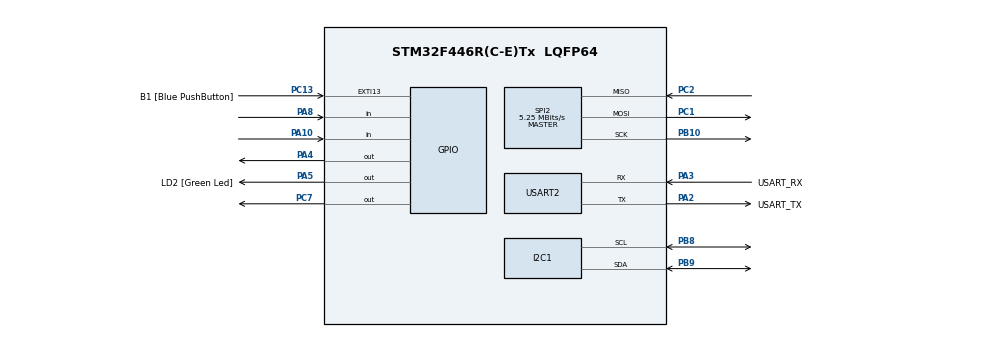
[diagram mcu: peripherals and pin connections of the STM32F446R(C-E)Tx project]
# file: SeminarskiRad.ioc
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Mcu.Family=STM32F4
Mcu.Name=STM32F446R(C-E)Tx
Mcu.Package=LQFP64
NVIC.EXTI15_10_IRQn=true\:0\:0\:false\:false\:true\:true\:true\:true
NVIC.PriorityGroup=NVIC_PRIORITYGROUP_0
NVIC.TIM6_DAC_IRQn=true\:0\:0\:false\:false\:true\:true\:true\:true
PA10.Signal=GPIO_Input
PA13.GPIO_Label=TMS
PA13.Mode=Serial_Wire
PA13.Signal=SYS_JTMS-SWDIO
PA14.GPIO_Label=TCK
PA14.Mode=Serial_Wire
PA14.Signal=SYS_JTCK-SWCLK
PA2.GPIO_Label=USART_TX
PA2.Mode=Asynchronous
PA2.Signal=USART2_TX
PA3.GPIO_Label=USART_RX
PA3.Mode=Asynchronous
PA3.Signal=USART2_RX
PA4.Signal=GPIO_Output
PA5.GPIO_Label=LD2 [Green Led]
PA5.Signal=GPIO_Output
PA8.Signal=GPIO_Input
PB10.Mode=Full_Duplex_Master
PB10.Signal=SPI2_SCK
PB3.GPIO_Label=SWO
PB3.Signal=SYS_JTDO-SWO
PB8.Mode=I2C
PB8.Signal=I2C1_SCL
PB9.Mode=I2C
PB9.Signal=I2C1_SDA
PC1.Mode=Full_Duplex_Master
PC1.Signal=SPI2_MOSI
PC13.GPIO_Label=B1 [Blue PushButton]
PC13.GPIO_ModeDefaultEXTI=GPIO_MODE_IT_FALLING
PC13.GPIO_PuPd=GPIO_PULLUP
PC13.Signal=GPXTI13
PC14-OSC32_IN.Mode=LSE-External-Oscillator
PC14-OSC32_IN.Signal=RCC_OSC32_IN
PC15-OSC32_OUT.Mode=LSE-External-Oscillator
PC15-OSC32_OUT.Signal=RCC_OSC32_OUT
PC2.Mode=Full_Duplex_Master
PC2.Signal=SPI2_MISO
PC7.Signal=GPIO_Output
PH0-OSC_IN.Mode=HSE-External-Oscillator
PH0-OSC_IN.Signal=RCC_OSC_IN
PH1-OSC_OUT.Mode=HSE-External-Oscillator
PH1-OSC_OUT.Signal=RCC_OSC_OUT
ProjectManager.HeapSize=0x200
ProjectManager.StackSize=0x400
ProjectManager.TargetToolchain=STM32CubeIDE
RCC.48MHZClocksFreq_Value=84000000
RCC.AHBFreq_Value=84000000
RCC.APB1CLKDivider=RCC_HCLK_DIV2
RCC.APB1Freq_Value=42000000
RCC.APB1TimFreq_Value=84000000
RCC.APB2Freq_Value=84000000
RCC.APB2TimFreq_Value=84000000
RCC.CortexFreq_Value=84000000
RCC.FLatency-AdvancedSettings=FLASH_LATENCY_2
RCC.HCLKFreq_Value=84000000
RCC.HSE_VALUE=8000000
RCC.HSI_VALUE=16000000
RCC.PLLN=336
RCC.PLLP=RCC_PLLP_DIV4
RCC.SYSCLKFreq_VALUE=84000000
RCC.SYSCLKSource=RCC_SYSCLKSOURCE_PLLCLK
RCC.USBFreq_Value=168000000
RCC.VCOOutputFreq_Value=336000000
SPI2.BaudRatePrescaler=SPI_BAUDRATEPRESCALER_8
SPI2.CalculateBaudRate=5.25 MBits/s
SPI2.Direction=SPI_DIRECTION_2LINES
SPI2.Mode=SPI_MODE_MASTER
SPI2.VirtualType=VM_MASTER
TIM6.AutoReloadPreload=TIM_AUTORELOAD_PRELOAD_ENABLE
TIM6.Period=29999
TIM6.Prescaler=8399
USART2.VirtualMode=VM_ASYNC
VP_TIM6_VS_ClockSourceINT.Mode=Enable_Timer
board=NUCLEO-F446RE

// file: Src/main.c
/* USER CODE BEGIN Header */
/**
  ******************************************************************************
  * @file           : main.c
  * @brief          : Main program body
  ******************************************************************************
  * @attention
  *
  * Copyright (c) 2025 STMicroelectronics.
  * All rights reserved.
  *
  * This software is licensed under terms that can be found in the LICENSE file
  * in the root directory of this software component.
  * If no LICENSE file comes with this software, it is provided AS-IS.
  *
  ******************************************************************************
  */
/* USER CODE END Header */
#include "main.h"
#include "i2c.h"
#include "spi.h"
#include "tim.h"
#include "usart.h"
#include "gpio.h"
#include <string.h>

/* USER CODE BEGIN PD */
// I2C adresa PCF8574T shiftana u lijevo za 1 jer I2C treba 7-bit adresiranje + 1 bit za R/W
#define PCF8574T_ADDRESS  0x27 << 1 // 0x4E

// LCD
#define LCD_BACKLIGHT 0x08      // Upravlja LCD pozadinskim svjetlom (0x08 = ON)
#define LCD_ENABLE    0x04      // Omogućuje pin za LCD operacije (slanje podatka ili komandi)
#define LCD_RS        0x01      // Odabir registara, 0 = LCD ceka naredbu, 1 = ceka podatke za prikaz

// RFID Komande
#define PCD_IDLE        0x00
#define PCD_AUTHENT     0x0E
#define PCD_RECEIVE     0x08
#define PCD_TRANSMIT    0x04
#define PCD_TRANSCEIVE  0x0C    // Prenosi i prima podatke, komunikacija sa karticom
#define PCD_RESETPHASE  0x0F    // soft reset MFRC522

// RFID Registri
#define CommandReg        0x01  // Zadaje RFID-u koju komandu da izvrši
#define CommIEnReg        0x02  // Omogućuje prekid kada se nešto dogodi
#define CommIrqReg        0x04  // Pokazuje je li neka operacija završena
#define DivIrqReg        0x05   // nadzire ostale uvjete prekida
#define ErrorReg         0x06   // detektira greške u komunikaciji
#define FIFODataReg      0x09   // FIFODataReg je registar kroz koji se šalju i primaju podaci
#define FIFOLevelReg     0x0A   // Koliko podataka je trenutno u FIFO memoriji.
#define WaterLevelReg    0x0B   // Postavlja granicu koliko podataka smije biti u FIFO bufferu
#define ControlReg       0x0C   // Sadrži kontrolne bitove
#define BitFramingReg    0x0D   // Koliko bita treba poslati
#define CollReg          0x0E   // Provjerava je li bilo sudara podataka prilikom komunikacije sa više kartica
#define ModeReg          0x11   // Postavlja osnovni radni način RFID čitača.
#define TxControlReg     0x14   // Pali antenu, bez ovog RFID ne šalje ništa
#define TxASKReg         0x15   // Amplitude Shift Keying je metoda koju čitač koristi za slanje podataka kartici. Ovaj registar određuje kako se točno oblikuje izlazni signal.
// Podešavaju tajmer u RFID čipu.
#define TModeReg         0x2A
#define TPrescalerReg    0x2B   // Timer prescaler settings, određuje brzinu brojanja
#define TReloadRegH      0x2C   // gornji bajt tajmera
#define TReloadRegL      0x2D   // donji bajt tajmera

// RFID PICC Komande
#define PICC_ANTICOLL    0x93   // Čita UID i sprječava da više kartica zbune čitač
// Prva komanda koju RFID čitač šalje nakon što upali antenu
#define PICC_REQIDL      0x26   // Detekcija RFID kartice u mirovanju

#define MFRC522_SPI      &hspi2
#define RFID_RST_PIN     GPIO_PIN_8 // reset
#define RFID_RST_PORT    GPIOA
// NSS je signalna linija koja se koristi za omogućavanje ili onemogućavanje komunikacije s određenim SLAVE uređajem
#define RFID_NSS_PIN     GPIO_PIN_4 // čip selecet, aktivno kad je low
#define RFID_NSS_PORT    GPIOA
/* USER CODE END PD */

/* USER CODE BEGIN PV */

//=======================//
//   KARTICE STUDENATA   //
//=======================//
const uint8_t Student1[4] = {0x16, 0xFC, 0xDE, 0x12};
const uint8_t Student2[4] = {0x94, 0x24, 0x09, 0x1E};
const uint8_t Student3[4] = {0x67, 0x64, 0xE8, 0x2B};
const uint8_t Student4[4] = {0xEA, 0x4C, 0xC0, 0x2E};
/* USER CODE END PV */

void SystemClock_Config(void);
/* USER CODE BEGIN PFP */

//=============================//
//   LCD FUNCTION PROTOTYPES   //
//=============================//
void I2C_LCD_Init(void);
void I2C_LCD_Send_Cmd(uint8_t cmd) ;               // Šalje naredbu LCD-u (npr. očisti ekran)
void I2C_LCD_Send_Data(uint8_t data);              // Šalje podatak (znak) na LCD za prikaz (npr. pokaži znak, broj...)
void I2C_LCD_Send_String(char *str);               // Šalje tekst (string) na LCD za prikaz
void I2C_LCD_Send_Byte(uint8_t val, uint8_t mode); // I2C_LCD_Send_Cmd i Data zovu ovu funkciju koja određuje oće li se tretirati kao naredba 0 ili podatak 1
void I2C_LCD_Pulse_En(uint8_t data);               // Šalje kratki signal bez kojeg LCD ništa ne šalje

//==============================//
//   RFID FUNCTION PROTOTYPES   //
//==============================//
void RC522_Init(void);
void RC522_WriteRegister(uint8_t reg, uint8_t value); // 1.šalje adresu "reg" u koju se piše / 2.šalje "value" vrijednost koja se piše (tako se RFIDu govori da npr. upali antenu)
uint8_t RC522_ReadRegister(uint8_t reg);              // Pročita što piše u određenom registru "reg"
uint8_t RC522_Request(uint8_t *cardType);             // Provjerava je li kartica prisutna u polju čitača i identificira njezin tip - Ako je - vraća 0 / Nije - 1
uint8_t RC522_Anticoll(uint8_t *serNum);              // Sprječavanja sudare (ako ima više kartica) kako bi odabrao jednu karticu i pročitao njezin UID
void RC522_Reset(void);
void RC522_AntennaOn(void);                           // Uključi antenu RFID čitača i tako omogućuje komunikaciju sa karticama

/* USER CODE END PFP */

/* USER CODE BEGIN 0 */

// Varijable su deklarirane negdje drugdje
// "extern" korsitim zato što omogućuje da ih koristim u bilo kojem dijelu programa bez potrebe za ponovnim definiranjem
extern I2C_HandleTypeDef hi2c1;
extern SPI_HandleTypeDef hspi2;
extern TIM_HandleTypeDef htim6;

//===========================//
//   LCD CONTROL FUNCTIONS   //
//===========================//
// Funkcija za slanje bajta preko I2C
// Šalje bajt (val) u dvije polovice jer je u 4-bitnom modu (4 gornja i 4 donja)
void I2C_LCD_Send_Byte(uint8_t val, uint8_t mode) {
    uint8_t high_nibble = (val & 0xF0) | LCD_BACKLIGHT | mode;        // uzima gornjih 4 bita(7-4) od bajta "val" i kombinira ih sa LCD_BACKLIGHT i mode, donje bitove (3-0) postavlja na 0
    uint8_t low_nibble = ((val << 4) & 0xF0) | LCD_BACKLIGHT | mode;  // uzima donja 4 bita(3-0) od bajta "val" i shifta u lijevo za 4 u poziciju high nibblea, donje bitove postavlja na 0
    I2C_LCD_Pulse_En(high_nibble); // Prvo šalje gornja 4 bita
    I2C_LCD_Pulse_En(low_nibble);  // Zatim šalje donja 4 bita
}

// Generira enable puls
void I2C_LCD_Pulse_En(uint8_t data) { // uzima podatke koje već imamo, dodaje EN bit i privremeno sprema u "temp", pa kad ga pošaljemo LCD-u, linija EN ide u 1 i omogućava da LCD pročita podatke
    uint8_t temp = data | LCD_ENABLE; // EN = 1, svi ostali bitovi ostaju isti zbog |
    HAL_I2C_Master_Transmit(&hi2c1, PCF8574T_ADDRESS, &temp, 1, HAL_MAX_DELAY); // šalje pripremljeni bajt "temp" preko I2C sabirnice na PCF8574T
    HAL_Delay(1);
    temp &= ~LCD_ENABLE; // invertira brojeve - sve je 1 osim EN bita koji je 0
    HAL_I2C_Master_Transmit(&hi2c1, PCF8574T_ADDRESS, &temp, 1, HAL_MAX_DELAY); // isto kao i ovo gore ali sada "temp" ima EN pin očišćen
    HAL_Delay(1);
}

// Funkcija za slanje komande LCD-u
// 0 indikator da se šalje naredba
void I2C_LCD_Send_Cmd(uint8_t cmd) {
    I2C_LCD_Send_Byte(cmd, 0);
}

// Funkcija za slanje podataka (data)
void I2C_LCD_Send_Data(uint8_t data) {
    I2C_LCD_Send_Byte(data, LCD_RS);  // RS = 1 - znači da se šalje podatak, LCD_RS definiran gore
}

// Funkcija za slanje stringa na LCD
void I2C_LCD_Send_String(char *str) {
    while (*str) {                    // while prolazi kroz svaki znak stringa dok zadnji znak nije \0 i šalje ga pomoću I2C_LCD_Send_Data()
        I2C_LCD_Send_Data(*str++);    // *str++ pomiče pokazivač na sljedeći znak u nizu
    }
}

// Inicijalizacija LCD-a
void I2C_LCD_Init(void) {
    HAL_Delay(50);
    I2C_LCD_Send_Cmd(0x33); // forsiranje LCD-a u 4-bitni način rada
    HAL_Delay(5);
    I2C_LCD_Send_Cmd(0x32); // potvrda da je u 4-bitnom načinu
    HAL_Delay(5);
    I2C_LCD_Send_Cmd(0x28); // 4-bit, 2 linije, 5x8 font
    I2C_LCD_Send_Cmd(0x0C); // Uključi prikaz, isključi kursor
    I2C_LCD_Send_Cmd(0x06); // Automatski pomak kursora
    I2C_LCD_Send_Cmd(0x01); // Očisti zaslon
    HAL_Delay(2);
}

//===========================//
//   RFID READER FUNCTIONS   //
//===========================//
// Prvi korak u SPI, priprema čip za primanje adrese i vrijednosti registra
void RC522_WriteRegister(uint8_t reg, uint8_t value) { // npr. odi na registar 0x01 (CommandReg) i upiši vrijednost 0x0F
	// NSS (Slave Selecet) se postavlja na LOW što znači da se RFID modul aktivira i spreman je primiti podatke putem SPI-a
    HAL_GPIO_WritePin(RFID_NSS_PORT, RFID_NSS_PIN, GPIO_PIN_RESET);
    uint8_t data[2];             // kreira polje od 2 bajta koji se šalju preko SPI
    data[0] = (reg << 1) & 0x7E; // mora shiftat ulijevo jer SPI zahtjeva da se adresa pomakne jer bit 7 mora bit R\W a bit 0 nekorišten
    data[1] = value;             // vrijednost koja se upisuje u reigstar
    // šalje 2 bajta putem SPI (prvi bajt - adresa registra, drugi bajt - vrijednost koja se upisuje u taj registar)
    HAL_SPI_Transmit(MFRC522_SPI, data, 2, HAL_MAX_DELAY); // šalje 2 bajta data od gore čipu preko SPI
    // NSS se postavalja na HIGH, završava SPI prijenos i RFID zna da je upis podataka završen
    HAL_GPIO_WritePin(RFID_NSS_PORT, RFID_NSS_PIN, GPIO_PIN_SET);
}

// Pomoću SPI-a čita vrijednosti iz registra RFID-a
uint8_t RC522_ReadRegister(uint8_t reg) {
	// NSS je LOW (omogućuje komunikaciju između mikrokontrolera i RFID-a)
    HAL_GPIO_WritePin(RFID_NSS_PORT, RFID_NSS_PIN, GPIO_PIN_RESET);
    uint8_t data[2];
    data[0] = ((reg << 1) & 0x7E) | 0x80; // komanda za čitanje (bit 7 = 1 za čitanje)
    data[1] = 0;                          // lažni bajt jer čip vraća vrijednost kao odgovor
    HAL_SPI_TransmitReceive(MFRC522_SPI, data, data, 2, HAL_MAX_DELAY); // istovremeno se pomiču 2 bajta, 1. je "smeće" 2. je zapravo vrijednost registra
    // NSS je HIGH (završava SPI komunikacija)
    HAL_GPIO_WritePin(RFID_NSS_PORT, RFID_NSS_PIN, GPIO_PIN_SET);
    return data[1];
}
// Postavlja (uključuje) određene bitove u zadanom registru RFID čitača / npr. uključivanje samo antene
void RC522_SetBitMask(uint8_t reg, uint8_t mask) { // osigura da se mijenjaju samo željeni bitovi, ključno za registre koji kontroliraju više nepovezanih značajki.
    uint8_t tmp = RC522_ReadRegister(reg); // pročita trenutnu vrijednost "reg" i spremi u privremenu varijablu tmp
    RC522_WriteRegister(reg, tmp | mask);  // koristi OR da bi postavio na 1 one bitove koji su 1 u mask
}
// Briše određene bitove u zadanom registru RFID-a, Kontrola pojedinih bitova bez da dira ostatak registra
void RC522_ClearBitMask(uint8_t reg, uint8_t mask) { // postavi na 0 bitove u registru bez da dira ostale bitove
    uint8_t tmp = RC522_ReadRegister(reg);           // pročita trenutni sadržaj "reg" i sprema se u "tmp"
    RC522_WriteRegister(reg, tmp & (~mask));         // AND s negacijom - isključi (postavi na 0) bitove definirane u mask / Zapisuje natrag izmijenjenu vrijednost u registar
}
// Provjerava jel antena OFF, ako je UPALI ju
void RC522_AntennaOn(void) {
    uint8_t temp = RC522_ReadRegister(TxControlReg); // čita sadržaj registra TxControlReg - kontrolira jesu li upravljački programi antene omogućeni ili ne
    if (!(temp & 0x03)) {                            // provjerava najniža 2 bita registra, ako su oba 0 antena je OFF
        RC522_SetBitMask(TxControlReg, 0x03);        // ovo pali antenu
    }
}

void RC522_Reset(void) {
    RC522_WriteRegister(CommandReg, PCD_RESETPHASE); // u CommandReg piše PCD_RESETPHASE time se čip resetira
}

void RC522_Init(void) {
    HAL_GPIO_WritePin(RFID_RST_PORT, RFID_RST_PIN, GPIO_PIN_SET); // reset pin mora biti u visokom stanju za normalno rad
    HAL_Delay(50);

    RC522_Reset();

    // Inicijalizacija timera RFIDa
    RC522_WriteRegister(TModeReg, 0x8D);        // omogućuje automatsko pokretanje timera, ključno za otkrivanje odgovora kartica unutar određenog vremena
    RC522_WriteRegister(TPrescalerReg, 0x3E);   // Postavlja frekvenciju timera na otp 40kHz, to određuje koliko timer brzo odbrojava operacije npr. komunikacija s karticom
    RC522_WriteRegister(TReloadRegL, 30);       // definira koliko dugo čip čeka odgovor kartice
    RC522_WriteRegister(TReloadRegH, 0);

    RC522_WriteRegister(TxASKReg, 0x40);        // 100% ASK modulation (potrebno za pouzdanu komunikaciju s karticama)
    RC522_WriteRegister(ModeReg, 0x3D);         // osigurava da čip koristi ispravne CRC postavke za kartice
    RC522_AntennaOn();                          // Uključuje antenu RFID čitača, bez toga čitač ne može vidjeti kartice.
}
// Glavna komunikacijska funkcija - obavlja komunikaciju između RC522 RFID čitača i kartice
uint8_t RC522_ToCard(uint8_t command, uint8_t *sendData, uint8_t sendLen, uint8_t *backData, uint8_t *backLen) {
    uint8_t status = 0;     // oznaka statusa komunikacije / status: 0=OK, 1=greška
    uint8_t irqEn = 0x00;   // koje prekide treba omogućiti u čipu
    uint8_t waitIRq = 0x00; // koji prekid se očekuje (npr. primljeni podaci ili stanje mirovanja)
    uint8_t lastBits;       // sprema broj valjanih bitova u zadnjem bajtu primljenih podataka
    uint8_t n;              // varijabla za spremanje privremenih vrijednosti (npr. broj bajtova iz FIFO-a)
    uint16_t i;             // brojač za petlje

    switch (command) {
        case PCD_TRANSCEIVE: // provjerava je li command PCD_TRANSCEIVE - koja šalje podatke kartici i prima odgovor
            irqEn = 0x77;    // omogućuje više prekida
            waitIRq = 0x30;  // čeka da se dogodi RxIRq (primljen podatak) ili IdleIRq (gotova operacija)
            break;           // Ne radi ništa ako command nije PCD_TRANSCEIVE
        default:
            break;
    }

    RC522_WriteRegister(CommIEnReg, irqEn | 0x80);     // omogućuje specifične prekide (npr. primljenje podatke ili dovršetak naredbe)
    RC522_ClearBitMask(CommIrqReg, 0x80);              // osigurava da zastarjele "flags" ne ometaju novu operaciju
    RC522_SetBitMask(FIFOLevelReg, 0x80);              // FIFO bafer (služi za pohranu podataka sa i na karticu) se prazni i priprema za nove podatke)
    RC522_WriteRegister(CommandReg, PCD_IDLE);         // Postavlja RC552 u PCD_IDLE (Osigurava da nije nijedna stara komanda aktivna) i tako sprjećava konflikte

    // Učitava podatke u FIFO međuspremnik MFRC522 i pokreće prijenos na karticu
    for (i = 0; i < sendLen; i++) {                    // prolazi kroz spremik sendData i zapisuje svaki bajt u FIFO registar
        RC522_WriteRegister(FIFODataReg, sendData[i]); // podaci koji će se prenijeti na karticu
    }

    // Izvršavanje naredbe
    RC522_WriteRegister(CommandReg, command);          // piše odabranu "command" u CommandReg
    if (command == PCD_TRANSCEIVE) {                   // ako je "command" PCD_TRANSCEIVE šalje FIFO podatke kartici
        RC522_SetBitMask(BitFramingReg, 0x80);
    }

    // Čekanje dovršetka naredbe(dok npr.nisu primljeni podaci ili završena operacija ili error)
    i = 2000; // stavio sam 2000 da ne bude beskonačno
    do {
        n = RC522_ReadRegister(CommIrqReg); // ispituje CommIrqReg do 2000 puta čekajući prekid koji oznaćava završetak naredbe
        i--;
    } while ((i != 0) && !(n & 0x01) && !(n & waitIRq)); // i != 0 ponovi petlju dok nije isteklo vrijeme /n & waitIRq - očekivani prekid se nije dogodio
                                                         // n & 0x01 nastavi petlju dok timer čipa nije istekao
    RC522_ClearBitMask(BitFramingReg, 0x80);             // Osigurava da čip prestane slati podatke nakon što je naredba dovršena
    if (i != 0) {                                        // provjerava je li petlja završila zbog prekida a ne zbog isteka vremena
        if (!(RC522_ReadRegister(ErrorReg) & 0x1B)) {    // ako nije bilo errora status = 0, dolje na kraju else- ako je bilo errora status = 2 pogreška
            status = 0;                                  // status = 0 uspješno
            if (n & irqEn & 0x01) {
                status = 1;                              // status = 1 isteklo vrijeme
            }

            if (command == PCD_TRANSCEIVE) {             // izvršava se samo ako se šalju podaci i očekuju odgovori, ako je nešto drugo preskače se
                n = RC522_ReadRegister(FIFOLevelReg);    // FIFOLevelReg - koliko bajtova je slobodno u FIFO
                lastBits = RC522_ReadRegister(ControlReg) & 0x07; // koliko valjanih bitova ima u posljednjem primljenom bajtu
                if (lastBits) {                          // računa backLen (duljinu odgovora u bitovima)
                    *backLen = (n - 1) * 8 + lastBits;   // ako zadnji bajt nije potpuno popunjen ukupuna duljina je puni bajt
                } else {
                    *backLen = n * 8;                    // else cijeli bajt
                }

                if (n == 0) {                            // Ako nema podataka (n == 0), postavi barem 1 bajt (jer čitanje iz FIFO uvijek treba dati nešto)
                    n = 1;
                }
                if (n > 16) {                            // Ako ima više od 16 bajtova, ograniči na 16
                    n = 16;
                }

                // Čita bajtove iz FIFO i sprema ih (pohranjuje se odgovor kartice
                for (i = 0; i < n; i++) {                // Petlja čita svaki bajt iz FIFO buffer registra FIFODataReg.
                    backData[i] = RC522_ReadRegister(FIFODataReg); // Rezultat se sprema u polje backData
                }
            }
        } else {
            status = 2;
        }
    }

    return status;
}

uint8_t RC522_Request(uint8_t *cardType) {    // deklarira funkciju koja šalje zahtjev za detekciju RFID kartice i pohranjuje njezin tip u "cardType"
    uint8_t status;                           // vraća "status" 0 za uspjeh a 1 za failure
    uint8_t backBits;                         // pohranjuje broj bitova u odgovoru kartice (koji vraća RC522_ToCard)
    RC522_WriteRegister(BitFramingReg, 0x07); // registar koji podešava način kako se šalju i primaju podaci

    cardType[0] = PICC_REQIDL;                // komanda koja detektira karticu u polju čitača, postavlja prvi bajt polja "cardType" na "PICC_REQIDL"
    status = RC522_ToCard(PCD_TRANSCEIVE, cardType, 1, cardType, &backBits); // Poziva "RC522_ToCard" za slanje naredbe "PICC_REQIDL" i primanje odgovora kartice.
 /* PCD_TRANSCEIVE - naredba čitaču da pošalje podatke i primi odgovor
    cardType - podatak koji se šalje,
    1 - broj bajotva koji se šalje,
    cardType - buffer u koji ćemo spremiti podatke koje kartica vrati
    &backBits - koliko bitova je vraćeno. */
    if ((status != 0) || (backBits != 0x10)) { // provjerava je li došlo do greške u komunikaciji
                                               // ako komunikacije nije uspjela ili ako kartica nije vratiča očekivanih 16 bitova

        status = 1;                            // "status" se postavlja na 1 = greška
    }

    return status;                             // "status" 0 = uspjeh 1 = neuspjeh
}
// funkcija koja sprkečava sudare više kartica
uint8_t RC522_Anticoll(uint8_t *serNum) {      // "serNum" je pokazivač na niz od 5 bajtova (pohranjeni su 4 bajta UID kartice i 1 bajt za kontrolu
    uint8_t status;            // sprema rezultat komunikacije 0 = ok, ako nije 0 greška
    uint8_t i;                 // brojač petlje za izračun kontrolne sume
    uint8_t serNumCheck = 0;   // koristi se za kontrolnu sumu (checksum) - XOR
    uint8_t backLen;           // pohranjuje broj bitova koji vraća "RC522_ToCard"
    RC522_WriteRegister(BitFramingReg, 0x00); // slanje i primanje punih bajtova za naredbu protiv kolizije
    // slanje komandi kartici i zahtjev za njen UID
    serNum[0] = PICC_ANTICOLL; // postavlja 1.bajt "serNum" na anti-collison command kod
    serNum[1] = 0x20;          // osigurava da kartica pošalje puni UID
    // Ovo je zapravo komunikacija s kartiocm, njezin odabir i dovinanje njezinog UIDa
    status = RC522_ToCard(PCD_TRANSCEIVE, serNum, 2, serNum, &backLen);
  /* PCD_TRANSCEIVE - Naredba čipu za slanje podataka i primanje odgovora
     serNum - šaljemo prema kartici
     2 - 2 bajta dužina podatka
     serNum - odgovor kartice UID kontrolni bajt
	 backLen - drži broj valjani broj bitova od odgovora kartice */
    if (status == 0) {                  // osigurava da se validacija izvrši samo ako je odogovor uspješno primljen
        for (i = 0; i < 4; i++) {       // prolazi kroz prva četiri bajda UIDa kartice i računa XOR kako bi se dobio kontrolni bajt (npr. 0x26)
            serNumCheck ^= serNum[i];   // BCC (0x26) se potom uspoređuje s primljenim BCCom koji je poslala kartica
        }
        if (serNumCheck != serNum[i]) { // ako se podudaraju UID je ispravan
            status = 2;                 // ako ne "status" je 2 i to je greška
        }
    }

    return status;
}

//=======================//
//   TIMER & INTERRUPT   //
//=======================//
void HAL_GPIO_EXTI_Callback(uint16_t GPIO_Pin) {
    if(GPIO_Pin == GPIO_PIN_13) {
        NVIC_SystemReset(); // Reset the system
    }
}
void HAL_TIM_PeriodElapsedCallback(TIM_HandleTypeDef *htim) {
    if (htim->Instance == TIM6) { // provjerava jel prekid izazvo TIM6
        // Isključi LED
        HAL_GPIO_WritePin(GPIOC, GPIO_PIN_7, GPIO_PIN_RESET); // LED na PC7 drži upaljenu 3 sekunde pa ju ugasi
        // Zaustavi timer
        HAL_TIM_Base_Stop_IT(&htim6);
    }
}
/* USER CODE END 0 */

int main(void)
{

  /* MCU Configuration--------------------------------------------------------*/

  /* Reset of all peripherals, Initializes the Flash interface and the Systick. */
  HAL_Init();

  /* Configure the system clock */
  SystemClock_Config();

  /* Initialize all configured peripherals */
  MX_GPIO_Init();
  MX_I2C1_Init();
  MX_SPI2_Init();
  MX_USART2_UART_Init();
  MX_TIM6_Init();

  // Inicijalizacija LCD and RFID
  I2C_LCD_Init();
  RC522_Init();

  // Početna poruka
  I2C_LCD_Send_Cmd(0x01);
  I2C_LCD_Send_String("Prisloni karticu");

  /* USER CODE BEGIN 2 */
    uint8_t cardUID[5];
    uint8_t cardType[2];
    HAL_TIM_Base_Start_IT(&htim6);

  /* USER CODE END 2 */

  /* Infinite loop */
  /* USER CODE BEGIN WHILE */

  //===================//
  //   GLAVNA PETLJA   //
  //===================//
  while (1)
  {
	  if (RC522_Request(cardType) == 0) {
	      if (RC522_Anticoll(cardUID) == 0) {
	    	  // Provjeri jel kartica autorizirana
	    	  if (memcmp(cardUID, Student1, 4) == 0) {
	    	      // Pali LED lampicu
	    	      HAL_GPIO_WritePin(GPIOC, GPIO_PIN_7, GPIO_PIN_SET);

	    	      // Startaj timer
	    	      HAL_TIM_Base_Start_IT(&htim6);

	              // Pokaži poruku dobrodošlice
	              I2C_LCD_Send_Cmd(0x01); // očisti zaslon
	              I2C_LCD_Send_String("Bok Adrian!");

	              // Čekamo 3 sekunde
	              HAL_Delay(3000);

	              // Vrati poruku dobrodošlice
	              I2C_LCD_Send_Cmd(0x01);
	              I2C_LCD_Send_String("Prisloni karticu");
	              }
	              else if (memcmp(cardUID, Student2, 4) == 0) {

	            	     HAL_GPIO_WritePin(GPIOC, GPIO_PIN_7, GPIO_PIN_SET);
	            	     HAL_TIM_Base_Start_IT(&htim6);

	                     I2C_LCD_Send_Cmd(0x01);
	                     I2C_LCD_Send_String("Bok Sara!");

	                     HAL_Delay(3000);

	                     I2C_LCD_Send_Cmd(0x01);
	                     I2C_LCD_Send_String("Prisloni karticu");
	              }
	              else if (memcmp(cardUID, Student3, 4) == 0) {

	            	     HAL_GPIO_WritePin(GPIOC, GPIO_PIN_7, GPIO_PIN_SET);
	            	  	 HAL_TIM_Base_Start_IT(&htim6);

	                 	 I2C_LCD_Send_Cmd(0x01);
	                 	 I2C_LCD_Send_String("Bok Iva!");

	                 	 HAL_Delay(3000);

	                 	 I2C_LCD_Send_Cmd(0x01);
	                 	 I2C_LCD_Send_String("Prisloni karticu");
	              }
	              else if (memcmp(cardUID, Student4, 4) == 0) {

	            	     HAL_GPIO_WritePin(GPIOC, GPIO_PIN_7, GPIO_PIN_SET);
	            	  	 HAL_TIM_Base_Start_IT(&htim6);

	                 	 I2C_LCD_Send_Cmd(0x01);
	                 	 I2C_LCD_Send_String("Bok Dorian!");

	                 	 HAL_Delay(3000);

	                 	 I2C_LCD_Send_Cmd(0x01);
	                 	 I2C_LCD_Send_String("Prisloni karticu");
	                 }
	             }
	         }
	         HAL_Delay(100);
	         /* USER CODE END WHILE */

	           }
	         }

	         /**
	           * @brief System Clock Configuration
	           * @retval None
	           */
	         void SystemClock_Config(void)
	         {
	           RCC_OscInitTypeDef RCC_OscInitStruct = {0};
	           RCC_ClkInitTypeDef RCC_ClkInitStruct = {0};

	           /** Configure the main internal regulator output voltage
	           */
	           __HAL_RCC_PWR_CLK_ENABLE();
	           __HAL_PWR_VOLTAGESCALING_CONFIG(PWR_REGULATOR_VOLTAGE_SCALE3);

	           /** Initializes the RCC Oscillators according to the specified parameters
	           * in the RCC_OscInitTypeDef structure.
	           */
	           RCC_OscInitStruct.OscillatorType = RCC_OSCILLATORTYPE_HSI;
	           RCC_OscInitStruct.HSIState = RCC_HSI_ON;
	           RCC_OscInitStruct.HSICalibrationValue = RCC_HSICALIBRATION_DEFAULT;
	           RCC_OscInitStruct.PLL.PLLState = RCC_PLL_ON;
	           RCC_OscInitStruct.PLL.PLLSource = RCC_PLLSOURCE_HSI;
	           RCC_OscInitStruct.PLL.PLLM = 16;
	           RCC_OscInitStruct.PLL.PLLN = 336;
	           RCC_OscInitStruct.PLL.PLLP = RCC_PLLP_DIV4;
	           RCC_OscInitStruct.PLL.PLLQ = 2;
	           RCC_OscInitStruct.PLL.PLLR = 2;
	           if (HAL_RCC_OscConfig(&RCC_OscInitStruct) != HAL_OK)
	           {
	             Error_Handler();
	           }

	           /** Initializes the CPU, AHB and APB buses clocks
	           */
	           RCC_ClkInitStruct.ClockType = RCC_CLOCKTYPE_HCLK|RCC_CLOCKTYPE_SYSCLK
	                                       |RCC_CLOCKTYPE_PCLK1|RCC_CLOCKTYPE_PCLK2;
	           RCC_ClkInitStruct.SYSCLKSource = RCC_SYSCLKSOURCE_PLLCLK;
	           RCC_ClkInitStruct.AHBCLKDivider = RCC_SYSCLK_DIV1;
	           RCC_ClkInitStruct.APB1CLKDivider = RCC_HCLK_DIV2;
	           RCC_ClkInitStruct.APB2CLKDivider = RCC_HCLK_DIV1;

	           if (HAL_RCC_ClockConfig(&RCC_ClkInitStruct, FLASH_LATENCY_2) != HAL_OK)
	           {
	             Error_Handler();
	           }
	         }

	         /**
	           * @brief  This function is executed in case of error occurrence.
	           * @retval None
	           */
	         void Error_Handler(void)
	         {
	           __disable_irq();
	           while (1)
	           {
	           }
	         }

	         #ifdef  USE_FULL_ASSERT
	         /**
	           * @brief  Reports the name of the source file and the source line number
	           *         where the assert_param error has occurred.
	           * @param  file: pointer to the source file name
	           * @param  line: assert_param error line source number
	           * @retval None
	           */
	         void assert_failed(uint8_t *file, uint32_t line)
	         {
	         }
	         #endif /* USE_FULL_ASSERT */
